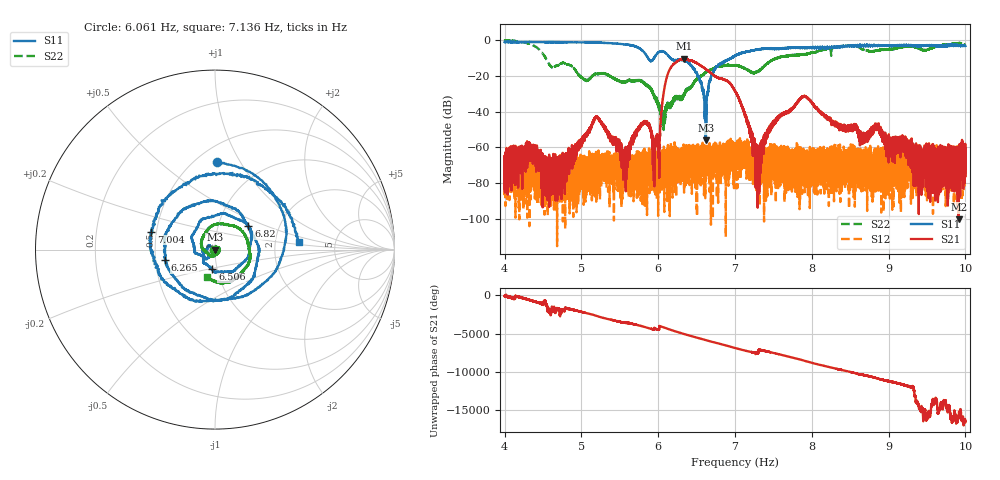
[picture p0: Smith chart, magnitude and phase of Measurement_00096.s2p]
!Created with skrf (http://scikit-rf.org).
# Hz S RI R 50.0
!freq ReS11 ImS11 ReS21 ImS21 ReS12 ImS12 ReS22 ImS22
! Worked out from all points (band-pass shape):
!   14001 points, 4 Hz to 10 Hz, reference 50 ohm
!   highest |S21| = -10.39 dB at 6.338 Hz (marker M1); lowest = -100.2 dB at 9.913 Hz (marker M2)
!   |S21| within 3 dB of the highest: 6.201 Hz to 6.525 Hz (323.6 mHz wide, 5.09 % of centre); 6.525361 Hz to 6.525928 Hz (567.8 uHz wide, 0.0087 % of centre)
!   lowest |S11| = -56.1 dB at 6.62 Hz (marker M3), VSWR 1.00, Z = 49.8 - j0.0268 ohm
!   |S11| at or under -10 dB: 5.868 Hz to 5.945 Hz (77.74 mHz wide, 1.32 % of centre); 6.158 Hz to 6.952 Hz (793.2 mHz wide, 12.1 % of centre); 6.952038 Hz to 6.954473 Hz (2.435 mHz wide, 0.035 % of centre) (the widest 3 of 5)
!   |S22| runs from -50.2 to -0.2 dB; largest |S21 - S12| = 0.3
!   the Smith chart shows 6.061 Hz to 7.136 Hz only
!   S11 on the Smith chart (normalised r, x): 6.061 Hz: 0.63, +0.80; 6.265 Hz: 0.56, -0.07; 6.506 Hz: 0.95, -0.21; 6.82 Hz: 1.39, +0.39; 7.004 Hz: 0.47, +0.11; 7.136 Hz: 2.73, +0.29
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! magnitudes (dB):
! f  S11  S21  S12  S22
! 4 Hz  -1.0  -64.8  -86.7  -0.2
! 4.622 Hz  -1.1  -70.2  -79.9  -15.3
! 5 Hz  -1.2  -55.9  -65.7  -20.7
! 5.199 Hz  -1.4  -43.2  -75.7  -18.8
! 5.564 Hz  -2.4  -68.2  -69.9  -23.5
! 5.809 Hz  -6.5  -45.7  -70.2  -24.0
! 6 Hz  -7.0  -59.2  -68.9  -36.6
! 6.061 Hz  -6.3  -32.5  -64.7  -43.5
! 6.265 Hz  -11.0  -11.4  -70.9  -32.0
! 6.338 Hz  -11.3  -10.4  -60.2  -30.6
! 6.506 Hz  -19.1  -12.9  -73.2  -21.4
! 6.62 Hz  -56.1  -16.2  -67.3  -17.8
! 6.82 Hz  -12.8  -21.5  -61.6  -14.5
! 7 Hz  -8.7  -28.4  -70.8  -14.0
! 7.004 Hz  -8.6  -28.8  -62.5  -14.0
! 7.136 Hz  -6.6  -42.2  -61.2  -15.9
! 7.296 Hz  -5.2  -64.9  -68.3  -17.4
! 7.563 Hz  -4.8  -43.1  -66.5  -10.0
! 8 Hz  -4.3  -35.0  -60.7  -6.8
! 9 Hz  -3.1  -64.2  -70.4  -5.1
! 9.913 Hz  -3.0  -100.2  -60.9  -1.7
! 10 Hz  -3.3  -68.2  -76.2  -3.1
